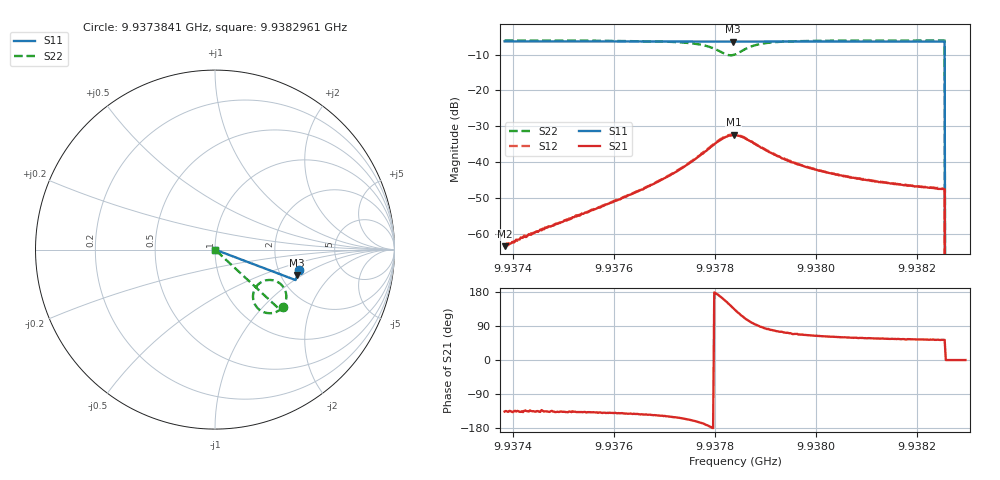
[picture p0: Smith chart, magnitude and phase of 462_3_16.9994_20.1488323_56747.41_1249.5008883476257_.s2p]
#  HZ  S  RI  R  50.00
! Rohde & Schwarz Vector Network Analyzer
! Rohde-Schwarz,ZNB20-2Port,1311601062101988,3.16
! Created: UTC 3/20/2024, 11:12:49 PM
! freq[Hz]  re:S11  im:S11  re:S21  im:S21  re:S12  im:S12  re:S22  im:S22
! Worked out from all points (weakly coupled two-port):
!   401 points, 9.9373841 GHz to 9.9382961 GHz, reference 50 ohm
!   highest |S21| = -32.38 dB at 9.9378378 GHz (marker M1); lowest = -63.4 dB at 9.9373841 GHz (marker M2)
!   lowest |S11| = -6.4 dB at 9.9378355 GHz (marker M3), VSWR 2.83, Z = 122 - j45.1 ohm
!   |S11| at or under -10 dB: 9.9382551 GHz to end of sweep
!   |S22| runs from - to -6.1 dB; largest |S21 - S12| = 0.001
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9.93738407e9  0.4695 -0.114  -0.000484 -0.000468  -0.000518 -0.000489  0.3788 -0.3223
9.93746387e9  0.4679 -0.1194  -0.000852 -0.000842  -0.000897 -0.000829  0.3718 -0.3285
9.93753684e9  0.4663 -0.1244  -0.00141 -0.0013  -0.0014 -0.00127  0.3635 -0.3347
9.93761209e9  0.4646 -0.1293  -0.00233 -0.00192  -0.00241 -0.00192  0.3514 -0.3425
9.93768961e9  0.4625 -0.1346  -0.00455 -0.00296  -0.00465 -0.00297  0.3289 -0.3513
9.9377375e9  0.461 -0.1379  -0.00763 -0.00362  -0.00782 -0.00358  0.3011 -0.3545
9.9377831e9  0.4591 -0.1408  -0.0142 -0.00211  -0.0146 -0.00196  0.2484 -0.3357
9.93781502e9  0.4574 -0.142  -0.0202 0.00619  -0.0205 0.00678  0.2115 -0.2617
9.93782642e9  0.4571 -0.1422  -0.0199 0.0117  -0.0201 0.0125  0.222 -0.2189
9.93783555e9  0.4569 -0.142  -0.0177 0.0158  -0.0177 0.0168  0.2461 -0.1896
9.93783783e9  0.457 -0.1421  -0.017 0.017  -0.0166 0.0175  0.2537 -0.1838
9.93784011e9  0.4571 -0.1422  -0.016 0.0176  -0.0158 0.0184  0.2619 -0.1791
9.93785379e9  0.4573 -0.1426  -0.01 0.0203  -0.00945 0.0207  0.3132 -0.1695
9.93786747e9  0.4576 -0.1434  -0.0046 0.0196  -0.00403 0.0198  0.3532 -0.1828
9.93789483e9  0.4578 -0.1455  0.00107 0.0157  0.00147 0.0156  0.3895 -0.2246
9.93794728e9  0.4568 -0.1497  0.00344 0.00982  0.00359 0.00977  0.3968 -0.275
9.93799288e9  0.4558 -0.1528  0.00348 0.0073  0.00367 0.00735  0.3916 -0.296
9.93806813e9  0.4538 -0.1578  0.00314 0.00523  0.00329 0.00527  0.3824 -0.3152
9.93814565e9  0.4517 -0.1629  0.00285 0.0042  0.00293 0.00419  0.3742 -0.3267
9.93825054e9  0.4488 -0.1698  0.00254 0.00338  0.00262 0.00338  0.3653 -0.337
9.93826194e9  0 0  0 0  0 0  0 0
9.93829615e9  0 0  0 0  0 0  0 0
